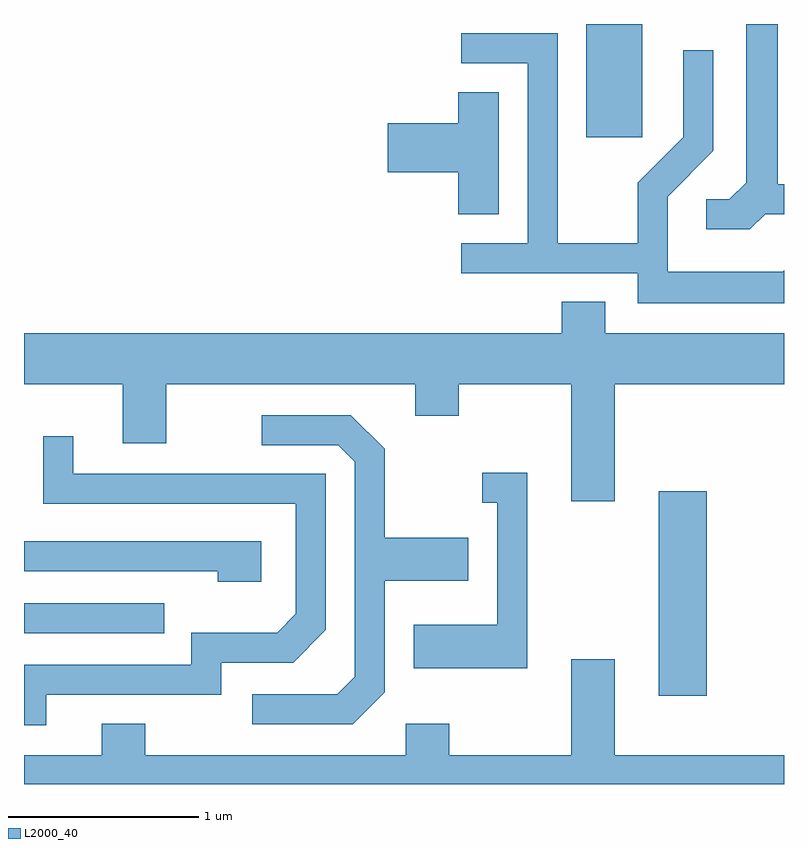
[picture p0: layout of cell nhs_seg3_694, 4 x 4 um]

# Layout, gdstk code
import gdstk
lib = gdstk.Library(unit=1e-6, precision=1e-09)
def R(c, l, rs):  # rectangles x0, y0, x1, y1
    for r in rs: c.add(gdstk.rectangle(r[:2], r[2:], *l))
def P(c, l, *ps):  # polygons
    for p in ps: c.add(gdstk.Polygon(p, *l))
L2000_40 = (2000, 40)

nhs_seg3_694 = lib.new_cell('nhs_seg3_694')
R(nhs_seg3_694, L2000_40, [(208.951,1144.356,209.204,1145.434), (205.611,1144.686,206.348,1144.844), (208.571,1147.296,208.864,1147.892)])
P(nhs_seg3_694, L2000_40, [(209.512,1146.891),(209.611,1146.891),(209.611,1147.049),(209.579,1147.049),(209.579,1147.892),(209.411,1147.892),(209.411,1147.057),(209.324,1146.969),(209.203,1146.969),(209.203,1146.811),(209.432,1146.811)],
  [(209.611,1146.596),(209.604,1146.589),(208.999,1146.589),(208.999,1146.984),(209.239,1147.224),(209.239,1147.753),(209.081,1147.753),(209.081,1147.297),(208.841,1147.057),(208.841,1146.739),(208.419,1146.739),(208.419,1147.844),(207.913,1147.844),(207.913,1147.686),(208.261,1147.686),(208.261,1146.739),(207.913,1146.739),(207.913,1146.581),(208.841,1146.581),(208.841,1146.421),(209.611,1146.421)],
  [(208.109,1147.534),(207.896,1147.534),(207.896,1147.369),(207.526,1147.369),(207.526,1147.111),(207.896,1147.111),(207.896,1146.891),(208.109,1146.891)],
  [(208.719,1145.996),(209.611,1145.996),(209.611,1146.264),(208.669,1146.264),(208.669,1146.429),(208.441,1146.429),(208.441,1146.264),(205.611,1146.264),(205.611,1145.996),(206.131,1145.996),(206.131,1145.686),(206.359,1145.686),(206.359,1145.996),(207.671,1145.996),(207.671,1145.831),(207.899,1145.831),(207.899,1145.996),(208.491,1145.996),(208.491,1145.381),(208.719,1145.381)],
  [(207.509,1144.374),(207.509,1144.961),(207.949,1144.961),(207.949,1145.189),(207.509,1145.189),(207.509,1145.657),(207.332,1145.834),(206.863,1145.834),(206.863,1145.676),(207.264,1145.676),(207.351,1145.589),(207.351,1144.457),(207.259,1144.364),(206.813,1144.364),(206.813,1144.206),(207.342,1144.206)],
  [(205.729,1144.361),(206.649,1144.361),(206.649,1144.531),(207.027,1144.531),(207.199,1144.704),(207.199,1145.524),(205.869,1145.524),(205.869,1145.723),(205.711,1145.723),(205.711,1145.366),(207.041,1145.366),(207.041,1144.787),(206.944,1144.689),(206.491,1144.689),(206.491,1144.519),(205.611,1144.519),(205.611,1144.201),(205.729,1144.201)],
  [(208.259,1145.529),(208.023,1145.529),(208.023,1145.371),(208.101,1145.371),(208.101,1144.729),(207.661,1144.729),(207.661,1144.501),(208.259,1144.501)],
  [(206.859,1145.169),(205.611,1145.169),(205.611,1145.011),(206.631,1145.011),(206.631,1144.956),(206.859,1144.956)],
  [(209.611,1144.044),(208.719,1144.044),(208.719,1144.549),(208.491,1144.549),(208.491,1144.044),(207.849,1144.044),(207.849,1144.209),(207.621,1144.209),(207.621,1144.044),(206.249,1144.044),(206.249,1144.209),(206.021,1144.209),(206.021,1144.044),(205.611,1144.044),(205.611,1143.892),(209.611,1143.892)])

lib.write_gds('nhs_seg3_694.gds')
